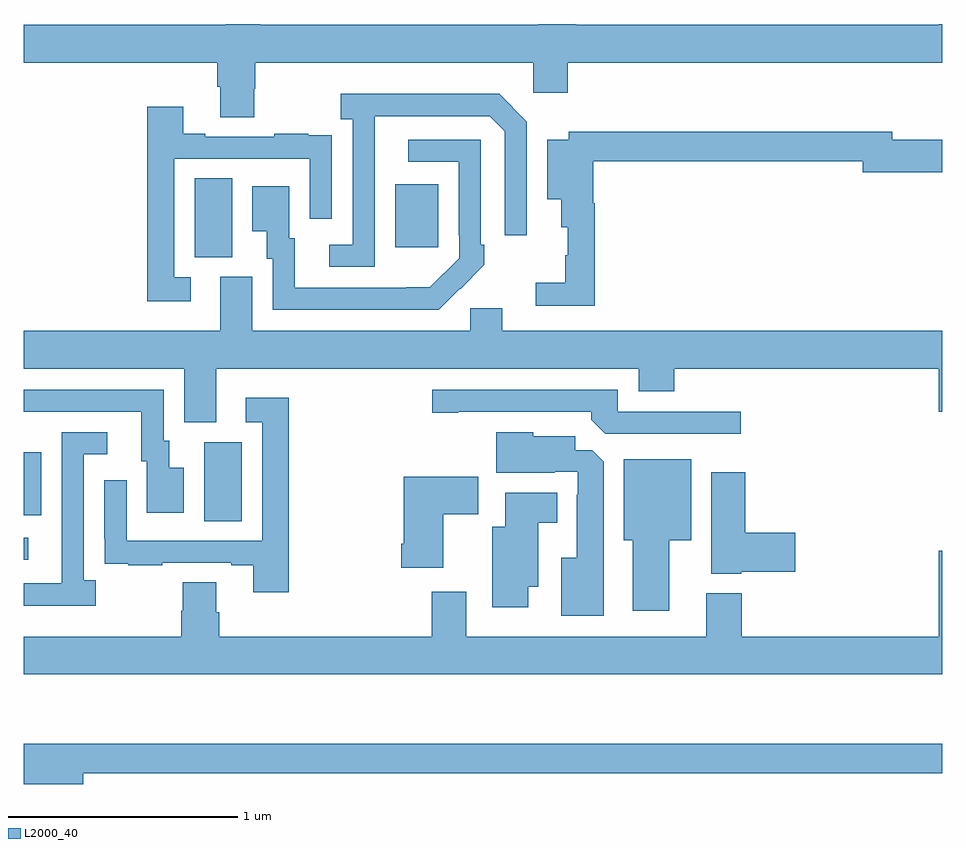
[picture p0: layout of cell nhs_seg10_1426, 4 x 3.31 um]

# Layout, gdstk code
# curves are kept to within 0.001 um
import gdstk
lib = gdstk.Library(unit=1e-6, precision=1e-09)
def R(c, l, rs):  # rectangles x0, y0, x1, y1
    for r in rs: c.add(gdstk.rectangle(r[:2], r[2:], *l))
def P(c, l, *ps):  # polygons
    for p in ps: c.add(gdstk.Polygon(p, *l))
L2000_40 = (2000, 40)

nhs_seg10_1426 = lib.new_cell('nhs_seg10_1426')
R(nhs_seg10_1426, L2000_40, [(185,1282.167,185.02,1282.263), (185.786,1282.336,185.95,1282.68), (185,1282.361,185.077,1282.636), (185.744,1283.485,185.908,1283.828), (186.617,1283.529,186.805,1283.803)])
P(nhs_seg10_1426, L2000_40, [(186.003,1284.219),(186.008,1284.219),(186.008,1284.332),(187.218,1284.332),(187.218,1284.201),(187.37,1284.201),(187.37,1284.332),(189,1284.332),(189,1284.5),(188.984,1284.5),(188.984,1284.496),(187.406,1284.496),(187.406,1284.5),(187.241,1284.5),(187.241,1284.496),(186.03,1284.496),(186.03,1284.5),(185.879,1284.5),(185.879,1284.496),(185,1284.496),(185,1284.332),(185.843,1284.332),(185.843,1284.226),(185.855,1284.226),(185.855,1284.094),(186.003,1284.094)],
  [(186.528,1283.899),(186.529,1284.099),(187.029,1284.099),(187.095,1284.033),(187.095,1283.58),(187.191,1283.58),(187.191,1284.075),(187.07,1284.196),(186.381,1284.196),(186.381,1284.086),(186.432,1284.086),(186.432,1283.538),(186.33,1283.538),(186.33,1283.442),(186.528,1283.442)],
  [(185.728,1283.397),(185.655,1283.397),(185.655,1283.913),(186.246,1283.913),(186.246,1283.652),(186.342,1283.652),(186.342,1283.906),(186.341,1283.906),(186.341,1284.015),(186.239,1284.015),(186.239,1284.022),(186.091,1284.022),(186.091,1284.009),(185.791,1284.009),(185.791,1284.022),(185.695,1284.022),(185.695,1284.139),(185.539,1284.139),(185.539,1283.292),(185.728,1283.292)],
  [(187.487,1283.719),(187.481,1283.719),(187.481,1283.902),(188.654,1283.902),(188.654,1283.855),(189,1283.855),(189,1283.997),(188.782,1283.997),(188.782,1284.031),(187.374,1284.031),(187.374,1283.995),(187.28,1283.995),(187.28,1283.738),(187.34,1283.738),(187.34,1283.615),(187.37,1283.615),(187.37,1283.493),(187.359,1283.493),(187.359,1283.373),(187.23,1283.373),(187.23,1283.274),(187.487,1283.274)],
  [(186.899,1283.347),(186.9,1283.346),(187.005,1283.451),(187.005,1283.539),(186.99,1283.539),(186.99,1283.997),(186.675,1283.997),(186.675,1283.901),(186.894,1283.901),(186.894,1283.581),(186.897,1283.581),(186.897,1283.481),(186.769,1283.353),(186.181,1283.352),(186.181,1283.568),(186.157,1283.568),(186.157,1283.794),(185.996,1283.794),(185.996,1283.597),(186.059,1283.597),(186.059,1283.478),(186.084,1283.478),(186.084,1283.256),(186.808,1283.256)],
  [(185.839,1283),(187.679,1283),(187.679,1282.901),(187.832,1282.901),(187.832,1283),(188.984,1283),(188.984,1282.812),(189,1282.812),(189,1283.164),(187.084,1283.164),(187.084,1283.262),(186.945,1283.262),(186.945,1283.164),(185.995,1283.164),(185.995,1283.4),(185.855,1283.4),(185.855,1283.164),(185,1283.164),(185,1283),(185.699,1283),(185.699,1282.765),(185.839,1282.765)],
  [(185.698,1282.567),(185.635,1282.567),(185.635,1282.686),(185.61,1282.686),(185.61,1282.908),(185,1282.908),(185,1282.812),(185.513,1282.812),(185.513,1282.596),(185.537,1282.596),(185.537,1282.371),(185.698,1282.371)],
  [(188.122,1282.812),(187.587,1282.812),(187.587,1282.908),(186.78,1282.908),(186.78,1282.807),(186.892,1282.807),(186.892,1282.812),(187.472,1282.812),(187.472,1282.778),(187.533,1282.716),(188.122,1282.716)],
  [(186.155,1282.873),(185.967,1282.873),(185.967,1282.767),(186.039,1282.767),(186.039,1282.251),(185.448,1282.251),(185.448,1282.513),(185.352,1282.513),(185.352,1282.258),(185.353,1282.258),(185.353,1282.149),(185.455,1282.149),(185.455,1282.143),(185.603,1282.143),(185.603,1282.155),(185.903,1282.155),(185.903,1282.143),(185.999,1282.143),(185.999,1282.026),(186.155,1282.026)],
  [(187.525,1282.595),(187.476,1282.644),(187.402,1282.644),(187.402,1282.705),(187.218,1282.705),(187.218,1282.723),(187.058,1282.723),(187.058,1282.547),(187.313,1282.547),(187.313,1282.551),(187.413,1282.551),(187.413,1282.451),(187.409,1282.451),(187.409,1282.177),(187.34,1282.177),(187.34,1281.923),(187.525,1281.923)],
  [(185.314,1282.078),(185.262,1282.078),(185.262,1282.626),(185.365,1282.626),(185.365,1282.722),(185.166,1282.722),(185.166,1282.265),(185.165,1282.265),(185.165,1282.065),(185,1282.065),(185,1281.968),(185.314,1281.968)],
  [(187.81,1282.253),(187.906,1282.253),(187.906,1282.606),(187.613,1282.606),(187.613,1282.253),(187.652,1282.253),(187.652,1281.945),(187.81,1281.945)],
  [(188.124,1282.115),(188.359,1282.115),(188.359,1282.286),(188.141,1282.286),(188.141,1282.549),(187.994,1282.549),(187.994,1282.106),(188.124,1282.106)],
  [(186.826,1282.366),(186.979,1282.366),(186.979,1282.528),(186.656,1282.528),(186.656,1282.237),(186.644,1282.237),(186.644,1282.133),(186.826,1282.133)],
  [(187.198,1282.049),(187.24,1282.049),(187.24,1282.328),(187.324,1282.328),(187.324,1282.459),(187.097,1282.459),(187.097,1282.312),(187.04,1282.312),(187.04,1281.96),(187.198,1281.96)],
  [(189,1282.207),(188.984,1282.207),(188.984,1281.832),(188.126,1281.832),(188.126,1282.021),(187.973,1282.021),(187.973,1281.832),(186.928,1281.832),(186.928,1282.027),(186.776,1282.027),(186.776,1281.832),(185.852,1281.832),(185.852,1281.938),(185.839,1281.938),(185.839,1282.07),(185.692,1282.07),(185.692,1281.945),(185.687,1281.945),(185.687,1281.832),(185,1281.832),(185,1281.668),(189,1281.668)],
  [(185.26,1281.238),(189,1281.238),(189,1281.367),(185,1281.367),(185,1281.191),(185.26,1281.191)])

lib.write_gds('nhs_seg10_1426.gds')
